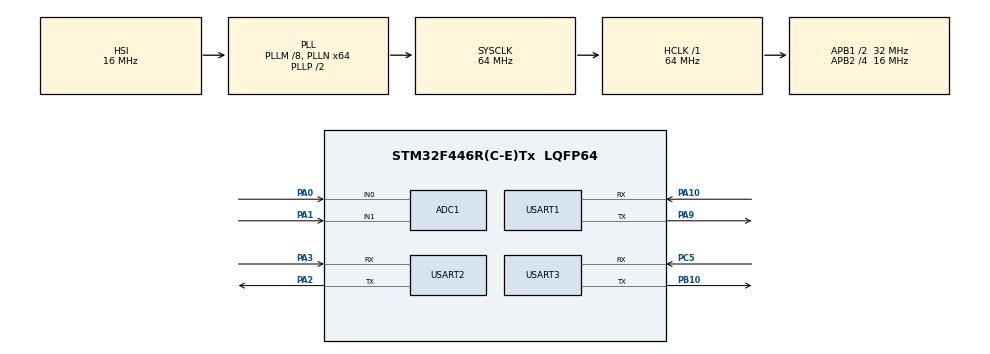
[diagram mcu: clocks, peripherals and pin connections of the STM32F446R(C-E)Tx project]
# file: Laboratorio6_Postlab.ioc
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ADC1.Channel-0\#ChannelRegularConversion=ADC_CHANNEL_0
ADC1.Channel-1\#ChannelRegularConversion=ADC_CHANNEL_1
ADC1.ClockPrescaler=ADC_CLOCK_SYNC_PCLK_DIV8
ADC1.ContinuousConvMode=ENABLE
ADC1.DMAContinuousRequests=ENABLE
ADC1.EOCSelection=ADC_EOC_SEQ_CONV
ADC1.NbrOfConversion=2
ADC1.NbrOfConversionFlag=1
ADC1.Rank-0\#ChannelRegularConversion=1
ADC1.Rank-1\#ChannelRegularConversion=2
ADC1.SamplingTime-0\#ChannelRegularConversion=ADC_SAMPLETIME_480CYCLES
ADC1.SamplingTime-1\#ChannelRegularConversion=ADC_SAMPLETIME_480CYCLES
ADC1.ScanConvMode=ENABLE
ADC1.master=1
Dma.ADC1.0.Direction=DMA_PERIPH_TO_MEMORY
Dma.ADC1.0.FIFOMode=DMA_FIFOMODE_DISABLE
Dma.ADC1.0.Instance=DMA2_Stream0
Dma.ADC1.0.MemDataAlignment=DMA_MDATAALIGN_HALFWORD
Dma.ADC1.0.MemInc=DMA_MINC_ENABLE
Dma.ADC1.0.Mode=DMA_CIRCULAR
Dma.ADC1.0.PeriphDataAlignment=DMA_PDATAALIGN_HALFWORD
Dma.ADC1.0.PeriphInc=DMA_PINC_DISABLE
Dma.ADC1.0.Priority=DMA_PRIORITY_LOW
Dma.MEMTOMEM.1.Direction=DMA_MEMORY_TO_MEMORY
Dma.MEMTOMEM.1.FIFOMode=DMA_FIFOMODE_ENABLE
Dma.MEMTOMEM.1.FIFOThreshold=DMA_FIFO_THRESHOLD_FULL
Dma.MEMTOMEM.1.Instance=DMA2_Stream1
Dma.MEMTOMEM.1.MemBurst=DMA_MBURST_SINGLE
Dma.MEMTOMEM.1.MemDataAlignment=DMA_MDATAALIGN_BYTE
Dma.MEMTOMEM.1.MemInc=DMA_MINC_ENABLE
Dma.MEMTOMEM.1.Mode=DMA_NORMAL
Dma.MEMTOMEM.1.PeriphBurst=DMA_PBURST_SINGLE
Dma.MEMTOMEM.1.PeriphDataAlignment=DMA_PDATAALIGN_BYTE
Dma.MEMTOMEM.1.PeriphInc=DMA_PINC_ENABLE
Dma.MEMTOMEM.1.Priority=DMA_PRIORITY_LOW
Dma.Request0=ADC1
Dma.Request1=MEMTOMEM
Mcu.Family=STM32F4
Mcu.Name=STM32F446R(C-E)Tx
Mcu.Package=LQFP64
NVIC.ADC_IRQn=true\:0\:0\:false\:false\:true\:true\:true\:true
NVIC.DMA2_Stream0_IRQn=true\:0\:0\:false\:false\:true\:false\:true\:true
NVIC.PriorityGroup=NVIC_PRIORITYGROUP_4
NVIC.USART1_IRQn=true\:0\:0\:true\:false\:true\:true\:true\:true
NVIC.USART2_IRQn=true\:0\:0\:false\:false\:true\:true\:true\:true
NVIC.USART3_IRQn=true\:0\:0\:false\:false\:true\:true\:true\:true
PA0-WKUP.Signal=ADCx_IN0
PA1.Signal=ADCx_IN1
PA10.Mode=Asynchronous
PA10.Signal=USART1_RX
PA13.Signal=SYS_JTMS-SWDIO
PA14.Signal=SYS_JTCK-SWCLK
PA2.Mode=Asynchronous
PA2.Signal=USART2_TX
PA3.Mode=Asynchronous
PA3.Signal=USART2_RX
PA9.Mode=Asynchronous
PA9.Signal=USART1_TX
PB10.Mode=Asynchronous
PB10.Signal=USART3_TX
PB3.Signal=SYS_JTDO-SWO
PC14-OSC32_IN.Signal=RCC_OSC32_IN
PC15-OSC32_OUT.Signal=RCC_OSC32_OUT
PC5.Mode=Asynchronous
PC5.Signal=USART3_RX
PH0-OSC_IN.Signal=RCC_OSC_IN
PH1-OSC_OUT.Signal=RCC_OSC_OUT
ProjectManager.HeapSize=0x200
ProjectManager.StackSize=0x400
ProjectManager.TargetToolchain=STM32CubeIDE
RCC.AHBFreq_Value=64000000
RCC.APB1CLKDivider=RCC_HCLK_DIV2
RCC.APB1Freq_Value=32000000
RCC.APB1TimFreq_Value=64000000
RCC.APB2CLKDivider=RCC_HCLK_DIV4
RCC.APB2Freq_Value=16000000
RCC.APB2TimFreq_Value=32000000
RCC.CortexFreq_Value=64000000
RCC.HCLKFreq_Value=64000000
RCC.PLLM=8
RCC.PLLN=64
RCC.SYSCLKFreq_VALUE=64000000
RCC.SYSCLKSource=RCC_SYSCLKSOURCE_PLLCLK
RCC.USBFreq_Value=64000000
RCC.VCOOutputFreq_Value=128000000
SH.ADCx_IN0.0=ADC1_IN0,IN0
SH.ADCx_IN1.0=ADC1_IN1,IN1
USART1.VirtualMode=VM_ASYNC
USART2.VirtualMode=VM_ASYNC
USART3.VirtualMode=VM_ASYNC
board=custom

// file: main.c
/* USER CODE BEGIN Header */
/**
  ******************************************************************************
  * @file           : main.c
  * @brief          : Main program body
  ******************************************************************************
  * @attention
  *
  * Copyright (c) 2025 STMicroelectronics.
  * All rights reserved.
  *
  * This software is licensed under terms that can be found in the LICENSE file
  * in the root directory of this software component.
  * If no LICENSE file comes with this software, it is provided AS-IS.
  *
  ******************************************************************************
  */
/* USER CODE END Header */
#include "main.h"

/* USER CODE BEGIN Includes */
#include <stdio.h>
#include <string.h>
/* USER CODE END Includes */

ADC_HandleTypeDef hadc1;
DMA_HandleTypeDef hdma_adc1;

UART_HandleTypeDef huart1;
UART_HandleTypeDef huart2;
UART_HandleTypeDef huart3;

DMA_HandleTypeDef hdma_memtomem_dma2_stream1;
/* USER CODE BEGIN PV */
uint16_t read_ADC[2];
uint8_t estado_ADC = 0;

uint8_t buffer[10];
uint8_t temp;
uint8_t indx = 0;
uint8_t uart_rx_data;

//char *JoyAA = "";
//char *JoyID = "";
//char JoyAA = "";

/* USER CODE END PV */

void SystemClock_Config(void);
static void MX_GPIO_Init(void);
static void MX_DMA_Init(void);
static void MX_ADC1_Init(void);
static void MX_USART1_UART_Init(void);
static void MX_USART2_UART_Init(void);
static void MX_USART3_UART_Init(void);

int main(void)
{

  /* MCU Configuration--------------------------------------------------------*/

  /* Reset of all peripherals, Initializes the Flash interface and the Systick. */
  HAL_Init();

  /* Configure the system clock */
  SystemClock_Config();

  /* USER CODE BEGIN SysInit */
  const char up[] = "Control 1: Arriba\r\n";
  const char down[] = "Control 1: Abajo\r\n";
  const char left[] = "Control 1: Izquierda\r\n";
  const char right[] = "Control 1: Derecha\r\n";

  /* USER CODE END SysInit */

  /* Initialize all configured peripherals */
  MX_GPIO_Init();
  MX_DMA_Init();
  MX_ADC1_Init();
  MX_USART1_UART_Init();
  MX_USART2_UART_Init();
  MX_USART3_UART_Init();
  /* USER CODE BEGIN 2 */
  HAL_ADC_Start_DMA(&hadc1, read_ADC, 2);
  HAL_UART_Receive_IT(&huart3, &uart_rx_data, 1); // Para control ATMega
  /* USER CODE END 2 */

  /* Infinite loop */
  while (1)
  {
	  if(estado_ADC){
	 		  estado_ADC=0;
	 	  }
	 	  if(read_ADC[0] > 2048 + 100){ // 2048 = mitad de 4095 (12-bit ADC)
	 	      HAL_UART_Transmit(&huart2, (uint8_t*)up, strlen(up), 2000);
	 	  }
	 	  else if(read_ADC[0] < 2048 - 100){
	 	      HAL_UART_Transmit(&huart2, (uint8_t*)down, strlen(down), 2000);
	 	  }

	 	  if(read_ADC[1] > 2048 + 100){
	 	      HAL_UART_Transmit(&huart2, (uint8_t*)right, strlen(right), 2000);
	 	  }
	 	  else if(read_ADC[1] < 2048 - 100){
	 	      HAL_UART_Transmit(&huart2, (uint8_t*)left, strlen(left), 2000);
	 	  }

	 	  	  HAL_Delay(500);

  }
}

void SystemClock_Config(void)
{
  RCC_OscInitTypeDef RCC_OscInitStruct = {0};
  RCC_ClkInitTypeDef RCC_ClkInitStruct = {0};

  /** Configure the main internal regulator output voltage
  */
  __HAL_RCC_PWR_CLK_ENABLE();
  __HAL_PWR_VOLTAGESCALING_CONFIG(PWR_REGULATOR_VOLTAGE_SCALE3);

  /** Initializes the RCC Oscillators according to the specified parameters
  * in the RCC_OscInitTypeDef structure.
  */
  RCC_OscInitStruct.OscillatorType = RCC_OSCILLATORTYPE_HSI;
  RCC_OscInitStruct.HSIState = RCC_HSI_ON;
  RCC_OscInitStruct.HSICalibrationValue = RCC_HSICALIBRATION_DEFAULT;
  RCC_OscInitStruct.PLL.PLLState = RCC_PLL_ON;
  RCC_OscInitStruct.PLL.PLLSource = RCC_PLLSOURCE_HSI;
  RCC_OscInitStruct.PLL.PLLM = 8;
  RCC_OscInitStruct.PLL.PLLN = 64;
  RCC_OscInitStruct.PLL.PLLP = RCC_PLLP_DIV2;
  RCC_OscInitStruct.PLL.PLLQ = 2;
  RCC_OscInitStruct.PLL.PLLR = 2;
  if (HAL_RCC_OscConfig(&RCC_OscInitStruct) != HAL_OK)
  {
    Error_Handler();
  }

  /** Initializes the CPU, AHB and APB buses clocks
  */
  RCC_ClkInitStruct.ClockType = RCC_CLOCKTYPE_HCLK|RCC_CLOCKTYPE_SYSCLK
                              |RCC_CLOCKTYPE_PCLK1|RCC_CLOCKTYPE_PCLK2;
  RCC_ClkInitStruct.SYSCLKSource = RCC_SYSCLKSOURCE_PLLCLK;
  RCC_ClkInitStruct.AHBCLKDivider = RCC_SYSCLK_DIV1;
  RCC_ClkInitStruct.APB1CLKDivider = RCC_HCLK_DIV2;
  RCC_ClkInitStruct.APB2CLKDivider = RCC_HCLK_DIV4;

  if (HAL_RCC_ClockConfig(&RCC_ClkInitStruct, FLASH_LATENCY_2) != HAL_OK)
  {
    Error_Handler();
  }
}

static void MX_ADC1_Init(void)
{

  ADC_ChannelConfTypeDef sConfig = {0};

  /** Configure the global features of the ADC (Clock, Resolution, Data Alignment and number of conversion)
  */
  hadc1.Instance = ADC1;
  hadc1.Init.ClockPrescaler = ADC_CLOCK_SYNC_PCLK_DIV8;
  hadc1.Init.Resolution = ADC_RESOLUTION_12B;
  hadc1.Init.ScanConvMode = ENABLE;
  hadc1.Init.ContinuousConvMode = ENABLE;
  hadc1.Init.DiscontinuousConvMode = DISABLE;
  hadc1.Init.ExternalTrigConvEdge = ADC_EXTERNALTRIGCONVEDGE_NONE;
  hadc1.Init.ExternalTrigConv = ADC_SOFTWARE_START;
  hadc1.Init.DataAlign = ADC_DATAALIGN_RIGHT;
  hadc1.Init.NbrOfConversion = 2;
  hadc1.Init.DMAContinuousRequests = ENABLE;
  hadc1.Init.EOCSelection = ADC_EOC_SEQ_CONV;
  if (HAL_ADC_Init(&hadc1) != HAL_OK)
  {
    Error_Handler();
  }

  /** Configure for the selected ADC regular channel its corresponding rank in the sequencer and its sample time.
  */
  sConfig.Channel = ADC_CHANNEL_0;
  sConfig.Rank = 1;
  sConfig.SamplingTime = ADC_SAMPLETIME_480CYCLES;
  if (HAL_ADC_ConfigChannel(&hadc1, &sConfig) != HAL_OK)
  {
    Error_Handler();
  }

  /** Configure for the selected ADC regular channel its corresponding rank in the sequencer and its sample time.
  */
  sConfig.Channel = ADC_CHANNEL_1;
  sConfig.Rank = 2;
  if (HAL_ADC_ConfigChannel(&hadc1, &sConfig) != HAL_OK)
  {
    Error_Handler();
  }

}

static void MX_USART1_UART_Init(void)
{

  huart1.Instance = USART1;
  huart1.Init.BaudRate = 115200;
  huart1.Init.WordLength = UART_WORDLENGTH_8B;
  huart1.Init.StopBits = UART_STOPBITS_1;
  huart1.Init.Parity = UART_PARITY_NONE;
  huart1.Init.Mode = UART_MODE_TX_RX;
  huart1.Init.HwFlowCtl = UART_HWCONTROL_NONE;
  huart1.Init.OverSampling = UART_OVERSAMPLING_16;
  if (HAL_UART_Init(&huart1) != HAL_OK)
  {
    Error_Handler();
  }

}

static void MX_USART2_UART_Init(void)
{

  huart2.Instance = USART2;
  huart2.Init.BaudRate = 115200;
  huart2.Init.WordLength = UART_WORDLENGTH_8B;
  huart2.Init.StopBits = UART_STOPBITS_1;
  huart2.Init.Parity = UART_PARITY_NONE;
  huart2.Init.Mode = UART_MODE_TX_RX;
  huart2.Init.HwFlowCtl = UART_HWCONTROL_NONE;
  huart2.Init.OverSampling = UART_OVERSAMPLING_16;
  if (HAL_UART_Init(&huart2) != HAL_OK)
  {
    Error_Handler();
  }

}

static void MX_USART3_UART_Init(void)
{

  huart3.Instance = USART3;
  huart3.Init.BaudRate = 115200;
  huart3.Init.WordLength = UART_WORDLENGTH_8B;
  huart3.Init.StopBits = UART_STOPBITS_1;
  huart3.Init.Parity = UART_PARITY_NONE;
  huart3.Init.Mode = UART_MODE_TX_RX;
  huart3.Init.HwFlowCtl = UART_HWCONTROL_NONE;
  huart3.Init.OverSampling = UART_OVERSAMPLING_16;
  if (HAL_UART_Init(&huart3) != HAL_OK)
  {
    Error_Handler();
  }

}

static void MX_DMA_Init(void)
{

  /* DMA controller clock enable */
  __HAL_RCC_DMA2_CLK_ENABLE();

  /* Configure DMA request hdma_memtomem_dma2_stream1 on DMA2_Stream1 */
  hdma_memtomem_dma2_stream1.Instance = DMA2_Stream1;
  hdma_memtomem_dma2_stream1.Init.Channel = DMA_CHANNEL_0;
  hdma_memtomem_dma2_stream1.Init.Direction = DMA_MEMORY_TO_MEMORY;
  hdma_memtomem_dma2_stream1.Init.PeriphInc = DMA_PINC_ENABLE;
  hdma_memtomem_dma2_stream1.Init.MemInc = DMA_MINC_ENABLE;
  hdma_memtomem_dma2_stream1.Init.PeriphDataAlignment = DMA_PDATAALIGN_BYTE;
  hdma_memtomem_dma2_stream1.Init.MemDataAlignment = DMA_MDATAALIGN_BYTE;
  hdma_memtomem_dma2_stream1.Init.Mode = DMA_NORMAL;
  hdma_memtomem_dma2_stream1.Init.Priority = DMA_PRIORITY_LOW;
  hdma_memtomem_dma2_stream1.Init.FIFOMode = DMA_FIFOMODE_ENABLE;
  hdma_memtomem_dma2_stream1.Init.FIFOThreshold = DMA_FIFO_THRESHOLD_FULL;
  hdma_memtomem_dma2_stream1.Init.MemBurst = DMA_MBURST_SINGLE;
  hdma_memtomem_dma2_stream1.Init.PeriphBurst = DMA_PBURST_SINGLE;
  if (HAL_DMA_Init(&hdma_memtomem_dma2_stream1) != HAL_OK)
  {
    Error_Handler( );
  }

  /* DMA interrupt init */
  /* DMA2_Stream0_IRQn interrupt configuration */
  HAL_NVIC_SetPriority(DMA2_Stream0_IRQn, 0, 0);
  HAL_NVIC_EnableIRQ(DMA2_Stream0_IRQn);

}

static void MX_GPIO_Init(void)
{

  /* GPIO Ports Clock Enable */
  __HAL_RCC_GPIOC_CLK_ENABLE();
  __HAL_RCC_GPIOH_CLK_ENABLE();
  __HAL_RCC_GPIOA_CLK_ENABLE();
  __HAL_RCC_GPIOB_CLK_ENABLE();

}

/* USER CODE BEGIN 4 */
void HAL_ADC_ConvCpltCallback(ADC_HandleTypeDef*hadc){
	estado_ADC = 1;
}

void HAL_UART_RxCpltCallback(UART_HandleTypeDef *huart){
	if(huart == &huart3){ // Datos del control ATMega
	        switch(uart_rx_data){
	            case 'U': HAL_UART_Transmit(&huart2, (uint8_t*)"Control 2: Arriba\r\n", 17, 100); break;
	            case 'D': HAL_UART_Transmit(&huart2, (uint8_t*)"Control 2: Abajo\r\n", 16, 100); break;
	            case 'L': HAL_UART_Transmit(&huart2, (uint8_t*)"Control 2: Izquierda\r\n", 20, 100); break;
	            case 'R': HAL_UART_Transmit(&huart2, (uint8_t*)"Control 2: Derecha\r\n", 18, 100); break;
	            case 'A': HAL_UART_Transmit(&huart2, (uint8_t*)"Control 2: Accion A\r\n", 19, 100); break;
	            case 'B': HAL_UART_Transmit(&huart2, (uint8_t*)"Control 2: Accion B\r\n", 19, 100); break;
	        }
	        HAL_UART_Receive_IT(&huart3, &uart_rx_data, 1); // Reactivar recepción
	    }
}

/* USER CODE END 4 */

void Error_Handler(void)
{
  __disable_irq();
  while (1)
  {
  }
}
